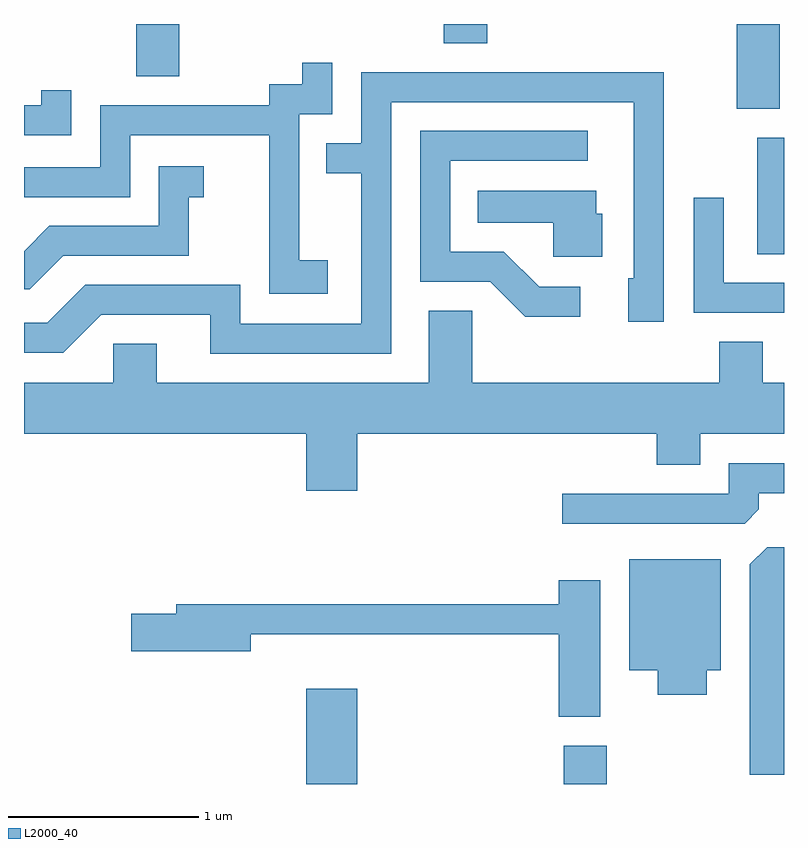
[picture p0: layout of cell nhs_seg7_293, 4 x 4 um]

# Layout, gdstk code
import gdstk
lib = gdstk.Library(unit=1e-6, precision=1e-09)
def R(c, l, rs):  # rectangles x0, y0, x1, y1
    for r in rs: c.add(gdstk.rectangle(r[:2], r[2:], *l))
def P(c, l, *ps):  # polygons
    for p in ps: c.add(gdstk.Polygon(p, *l))
L2000_40 = (2000, 40)

nhs_seg7_293 = lib.new_cell('nhs_seg7_293')
R(nhs_seg7_293, L2000_40, [(195.096,1710.252,195.364,1710.754), (196.451,1710.252,196.679,1710.454), (197.471,1713.041,197.611,1713.654), (197.361,1713.806,197.589,1714.252), (194.201,1713.976,194.429,1714.252), (195.821,1714.151,196.049,1714.252)])
P(nhs_seg7_293, L2000_40, [(195.209,1713.009),(195.059,1713.009),(195.059,1713.776),(195.234,1713.776),(195.234,1714.048),(195.076,1714.048),(195.076,1713.934),(194.901,1713.934),(194.901,1713.824),(194.011,1713.824),(194.011,1713.499),(193.611,1713.499),(193.611,1713.341),(194.169,1713.341),(194.169,1713.666),(194.901,1713.666),(194.901,1712.831),(195.209,1712.831)],
  [(195.544,1713.841),(196.821,1713.841),(196.821,1712.914),(196.791,1712.914),(196.791,1712.686),(196.979,1712.686),(196.979,1713.999),(195.386,1713.999),(195.386,1713.624),(195.203,1713.624),(195.203,1713.466),(195.386,1713.466),(195.386,1712.674),(194.749,1712.674),(194.749,1712.879),(193.934,1712.879),(193.734,1712.679),(193.611,1712.679),(193.611,1712.521),(193.817,1712.521),(194.017,1712.721),(194.591,1712.721),(194.591,1712.516),(195.544,1712.516)],
  [(193.859,1713.903),(193.701,1713.903),(193.701,1713.824),(193.611,1713.824),(193.611,1713.666),(193.859,1713.666)],
  [(196.538,1712.869),(196.322,1712.869),(196.137,1713.054),(195.854,1713.054),(195.854,1713.531),(196.578,1713.531),(196.578,1713.689),(195.696,1713.689),(195.696,1712.896),(196.064,1712.896),(196.249,1712.711),(196.538,1712.711)],
  [(193.817,1713.031),(194.479,1713.031),(194.479,1713.341),(194.558,1713.341),(194.558,1713.504),(194.321,1713.504),(194.321,1713.189),(193.744,1713.189),(193.611,1713.056),(193.611,1712.856),(193.642,1712.856)],
  [(196.654,1713.254),(196.624,1713.254),(196.624,1713.374),(195.998,1713.374),(195.998,1713.206),(196.396,1713.206),(196.396,1713.026),(196.654,1713.026)],
  [(197.611,1712.889),(197.294,1712.889),(197.294,1713.338),(197.136,1713.338),(197.136,1712.731),(197.611,1712.731)],
  [(195.364,1712.096),(196.941,1712.096),(196.941,1711.931),(197.169,1711.931),(197.169,1712.096),(197.611,1712.096),(197.611,1712.364),(197.499,1712.364),(197.499,1712.579),(197.271,1712.579),(197.271,1712.364),(195.969,1712.364),(195.969,1712.744),(195.741,1712.744),(195.741,1712.364),(194.309,1712.364),(194.309,1712.569),(194.081,1712.569),(194.081,1712.364),(193.611,1712.364),(193.611,1712.096),(195.096,1712.096),(195.096,1711.796),(195.364,1711.796)],
  [(197.479,1711.697),(197.479,1711.781),(197.611,1711.781),(197.611,1711.939),(197.321,1711.939),(197.321,1711.779),(196.443,1711.779),(196.443,1711.621),(197.404,1711.621)],
  [(197.611,1711.499),(197.522,1711.499),(197.431,1711.409),(197.431,1710.301),(197.611,1710.301)],
  [(197.204,1710.851),(197.279,1710.851),(197.279,1711.434),(196.796,1711.434),(196.796,1710.851),(196.946,1710.851),(196.946,1710.721),(197.204,1710.721)],
  [(196.644,1711.324),(196.426,1711.324),(196.426,1711.199),(194.411,1711.199),(194.411,1711.149),(194.176,1711.149),(194.176,1710.951),(194.804,1710.951),(194.804,1711.041),(196.426,1711.041),(196.426,1710.606),(196.644,1710.606)])

lib.write_gds('nhs_seg7_293.gds')
